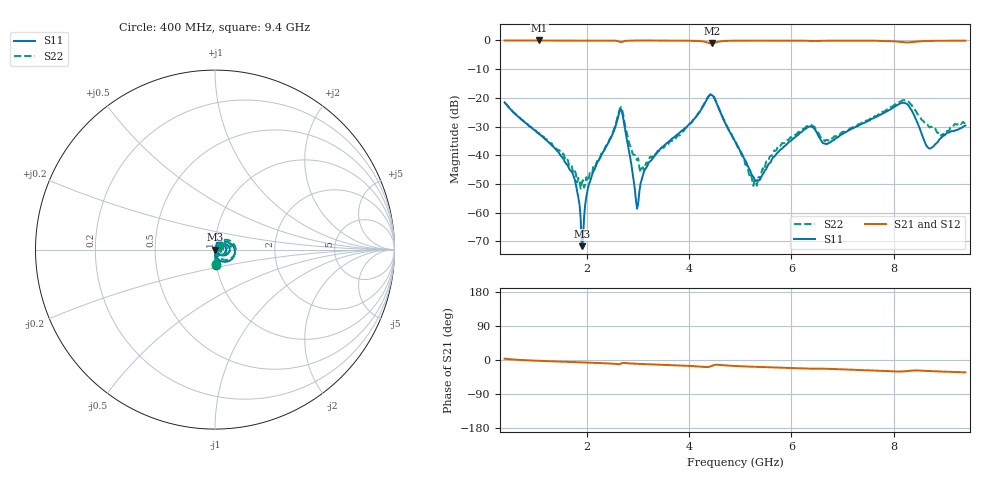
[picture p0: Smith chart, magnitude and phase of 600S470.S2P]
!  American Technical Ceramics  Date:  10/27/06
!  One Norden Lane
!  Huntington Station,  NY.  11746-2102
!  Tel:  (631) 622-4700  Fax:  (631) 622-4748
!  Part Number  600S470  Mounting Orientation: Horizontal
!  Description: Ultra Low ESR Microwave capacitors
!  Application: Coupling, Bypass, Tuning, DC Block
!  Filters, Matching
# GHZ S DB R 50
! Freq  |S11|  S11 Ph  |S21|  S21 Ph  |S12|  S12 Ph  |S22|  S22 Ph
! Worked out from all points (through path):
!   401 points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, 400 MHz to 9.4 GHz, reference 50 ohm
!   highest |S21| = -0.02 dB at 1.075 GHz (marker M1); lowest = -1.1 dB at 4.45 GHz (marker M2)
!   group delay of S21, straight-line fit = 10.2 ps
!   lowest |S11| = -71.7 dB at 1.908 GHz (marker M3), VSWR 1.00, Z = 50 - j0.0181 ohm
!   |S11| at or under -10 dB: start of sweep to end of sweep
!   |S22| runs from -51.7 to -18.7 dB; largest |S21 - S12| = 0.0031
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0.4  -21.59 -85.8  -0.05 3.4  -0.04 3.4  -21.61 -85.0
1.075  -32.60 -91.3  -0.02 -2.2  -0.01 -2.2  -32.29 -86.0
1.728  -46.35 -94.7  -0.02 -5.5  -0.01 -5.5  -45.21 -72.3
1.818  -52.78 -103.0  -0.03 -5.9  -0.01 -5.9  -49.46 -49.3
1.908  -71.69 -135.9  -0.03 -6.3  -0.01 -6.3  -49.62 -7.6
2.088  -48.11 83.2  -0.03 -7.2  -0.02 -7.2  -46.21 32.4
2.65  -24.45 19.1  -0.50 -10.8  -0.49 -10.8  -23.77 21.9
2.718  -27.26 -46.5  -0.37 -7.6  -0.36 -7.7  -26.02 -36.5
2.988  -58.64 -174.2  -0.05 -10.0  -0.04 -10.1  -41.68 -18.6
3.1  -47.10 64.1  -0.05 -10.6  -0.04 -10.7  -44.21 19.1
3.415  -38.42 73.9  -0.04 -12.2  -0.04 -12.3  -38.58 54.4
4.45  -19.05 -21.3  -1.07 -15.1  -1.07 -15.1  -18.85 -10.1
4.9  -35.20 -86.4  -0.10 -15.8  -0.10 -15.9  -34.96 -69.7
5.283  -48.52 -40.0  -0.07 -17.9  -0.07 -18.1  -48.65 -1.9
5.71  -39.52 42.6  -0.07 -19.9  -0.07 -20.0  -38.20 65.5
6.408  -30.11 8.5  -0.23 -22.7  -0.23 -22.9  -29.73 27.3
6.7  -36.06 19.5  -0.10 -23.2  -0.10 -23.3  -34.66 33.6
7.915  -24.25 31.3  -0.22 -29.6  -0.23 -29.7  -23.68 43.9
8.253  -22.09 -12.4  -0.70 -29.3  -0.70 -29.4  -20.87 4.0
8.703  -37.73 -2.5  -0.16 -29.2  -0.17 -29.3  -30.33 -12.6
8.973  -33.08 38.7  -0.13 -30.6  -0.14 -30.7  -32.58 12.7
9.4  -29.65 49.1  -0.09 -32.6  -0.10 -32.7  -28.84 32.0
